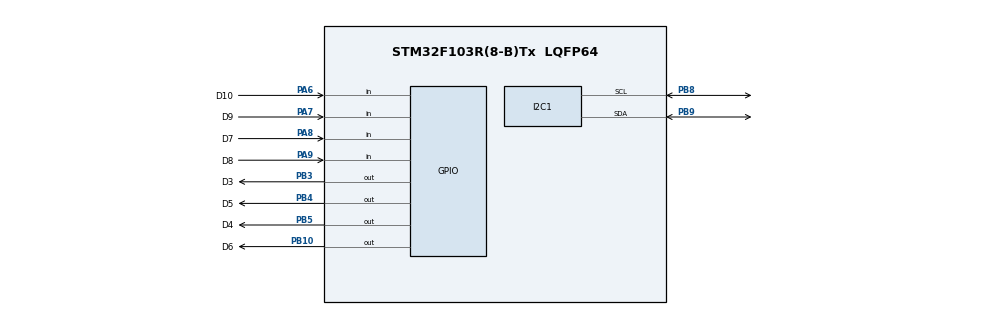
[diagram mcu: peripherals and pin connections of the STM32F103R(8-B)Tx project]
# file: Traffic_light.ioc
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Mcu.Family=STM32F1
Mcu.Name=STM32F103R(8-B)Tx
Mcu.Package=LQFP64
NVIC.PriorityGroup=NVIC_PRIORITYGROUP_4
NVIC.TIM2_IRQn=true\:0\:0\:false\:false\:true\:true\:true
PA13.Mode=Serial_Wire
PA13.Signal=SYS_JTMS-SWDIO
PA14.Mode=Serial_Wire
PA14.Signal=SYS_JTCK-SWCLK
PA6.GPIO_Label=D10
PA6.Signal=GPIO_Input
PA7.GPIO_Label=D9
PA7.Signal=GPIO_Input
PA8.GPIO_Label=D7
PA8.Signal=GPIO_Input
PA9.GPIO_Label=D8
PA9.Signal=GPIO_Input
PB10.GPIO_Label=D6
PB10.Signal=GPIO_Output
PB3.GPIO_Label=D3
PB3.GPIO_ModeDefaultOutputPP=GPIO_MODE_OUTPUT_PP
PB3.Signal=GPIO_Output
PB4.GPIO_Label=D5
PB4.Signal=GPIO_Output
PB5.GPIO_Label=D4
PB5.Signal=GPIO_Output
PB8.Mode=I2C
PB8.Signal=I2C1_SCL
PB9.Mode=I2C
PB9.Signal=I2C1_SDA
ProjectManager.HeapSize=0x200
ProjectManager.StackSize=0x400
ProjectManager.TargetToolchain=STM32CubeIDE
RCC.APB1Freq_Value=8000000
RCC.APB2Freq_Value=8000000
TIM2.Period=9
TIM2.Prescaler=7999
VP_TIM2_VS_ClockSourceINT.Mode=Internal
board=custom

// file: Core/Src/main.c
/* USER CODE BEGIN Header */
/**
  ******************************************************************************
  * @file           : main.c
  * @brief          : Main program body
  ******************************************************************************
  * @attention
  *
  * <h2><center>&copy; Copyright (c) 2026 STMicroelectronics.
  * All rights reserved.</center></h2>
  *
  * This software component is licensed by ST under BSD 3-Clause license,
  * the "License"; You may not use this file except in compliance with the
  * License. You may obtain a copy of the License at:
  *                        opensource.org/licenses/BSD-3-Clause
  *
  ******************************************************************************
  */
/* USER CODE END Header */
#include "main.h"

I2C_HandleTypeDef hi2c1;

TIM_HandleTypeDef htim2;

void SystemClock_Config(void);
static void MX_GPIO_Init(void);
static void MX_I2C1_Init(void);
static void MX_TIM2_Init(void);

int main(void)
{
  /* USER CODE BEGIN 1 */
	/* 1. Hàm test cho Cụm đèn 1 (Chân D3, D4) */
	void traffic_light_1_test(void) {
	    static uint8_t state1 = 0;
	    state1 = (state1 + 1) % 3; // Luân chuyển 0 -> 1 -> 2 -> 0

	    if (state1 == 0) {
	        // Bật Đỏ (Giả sử D3=0, D4=1)
	        HAL_GPIO_WritePin(GPIOB, GPIO_PIN_3, GPIO_PIN_RESET);
	        HAL_GPIO_WritePin(GPIOB, GPIO_PIN_4, GPIO_PIN_SET);
	    } else if (state1 == 1) {
	        // Bật Vàng (Giả sử D3=1, D4=0)
	        HAL_GPIO_WritePin(GPIOB, GPIO_PIN_3, GPIO_PIN_SET);
	        HAL_GPIO_WritePin(GPIOB, GPIO_PIN_4, GPIO_PIN_RESET);
	    } else {
	        // Bật Xanh (Giả sử D3=1, D4=1)
	        HAL_GPIO_WritePin(GPIOB, GPIO_PIN_3, GPIO_PIN_SET);
	        HAL_GPIO_WritePin(GPIOB, GPIO_PIN_4, GPIO_PIN_SET);
	    }
	}

	/* 2. Hàm test cho Cụm đèn 2 (Chân D5, D6) */
	void traffic_light_2_test(void) {
	    static uint8_t state2 = 0;
	    state2 = (state2 + 1) % 3;

	    if (state2 == 0) {
	        HAL_GPIO_WritePin(GPIOB, GPIO_PIN_5, GPIO_PIN_RESET);
	        HAL_GPIO_WritePin(GPIOB, GPIO_PIN_6, GPIO_PIN_SET);
	    } else if (state2 == 1) {
	        HAL_GPIO_WritePin(GPIOB, GPIO_PIN_5, GPIO_PIN_SET);
	        HAL_GPIO_WritePin(GPIOB, GPIO_PIN_6, GPIO_PIN_RESET);
	    } else {
	        HAL_GPIO_WritePin(GPIOB, GPIO_PIN_5, GPIO_PIN_SET);
	        HAL_GPIO_WritePin(GPIOB, GPIO_PIN_6, GPIO_PIN_SET);
	    }
	}
  /* USER CODE END 1 */

  /* MCU Configuration--------------------------------------------------------*/

  /* Reset of all peripherals, Initializes the Flash interface and the Systick. */
  HAL_Init();

  /* Configure the system clock */
  SystemClock_Config();

  /* Initialize all configured peripherals */
  MX_GPIO_Init();
  MX_I2C1_Init();
  MX_TIM2_Init();
  /* USER CODE BEGIN 2 */
  HAL_TIM_Base_Start_IT(&htim2);
  SCH_Init();

  // Thêm task chớp LED 1 chu kỳ 0.5s (50 tick) và LED 2 chu kỳ 1s (100 tick)
  SCH_Add_Task(traffic_light_1_test, 0, 50);
  SCH_Add_Task(traffic_light_2_test, 0, 100);
  /* USER CODE END 2 */

  /* Infinite loop */
  while (1)
  {
	  SCH_Dispatch_Tasks();
  }
}

void SystemClock_Config(void)
{
  RCC_OscInitTypeDef RCC_OscInitStruct = {0};
  RCC_ClkInitTypeDef RCC_ClkInitStruct = {0};

  /** Initializes the RCC Oscillators according to the specified parameters
  * in the RCC_OscInitTypeDef structure.
  */
  RCC_OscInitStruct.OscillatorType = RCC_OSCILLATORTYPE_HSI;
  RCC_OscInitStruct.HSIState = RCC_HSI_ON;
  RCC_OscInitStruct.HSICalibrationValue = RCC_HSICALIBRATION_DEFAULT;
  RCC_OscInitStruct.PLL.PLLState = RCC_PLL_NONE;
  if (HAL_RCC_OscConfig(&RCC_OscInitStruct) != HAL_OK)
  {
    Error_Handler();
  }
  /** Initializes the CPU, AHB and APB buses clocks
  */
  RCC_ClkInitStruct.ClockType = RCC_CLOCKTYPE_HCLK|RCC_CLOCKTYPE_SYSCLK
                              |RCC_CLOCKTYPE_PCLK1|RCC_CLOCKTYPE_PCLK2;
  RCC_ClkInitStruct.SYSCLKSource = RCC_SYSCLKSOURCE_HSI;
  RCC_ClkInitStruct.AHBCLKDivider = RCC_SYSCLK_DIV1;
  RCC_ClkInitStruct.APB1CLKDivider = RCC_HCLK_DIV1;
  RCC_ClkInitStruct.APB2CLKDivider = RCC_HCLK_DIV1;

  if (HAL_RCC_ClockConfig(&RCC_ClkInitStruct, FLASH_LATENCY_0) != HAL_OK)
  {
    Error_Handler();
  }
}

static void MX_I2C1_Init(void)
{

  hi2c1.Instance = I2C1;
  hi2c1.Init.ClockSpeed = 100000;
  hi2c1.Init.DutyCycle = I2C_DUTYCYCLE_2;
  hi2c1.Init.OwnAddress1 = 0;
  hi2c1.Init.AddressingMode = I2C_ADDRESSINGMODE_7BIT;
  hi2c1.Init.DualAddressMode = I2C_DUALADDRESS_DISABLE;
  hi2c1.Init.OwnAddress2 = 0;
  hi2c1.Init.GeneralCallMode = I2C_GENERALCALL_DISABLE;
  hi2c1.Init.NoStretchMode = I2C_NOSTRETCH_DISABLE;
  if (HAL_I2C_Init(&hi2c1) != HAL_OK)
  {
    Error_Handler();
  }

}

static void MX_TIM2_Init(void)
{

  TIM_ClockConfigTypeDef sClockSourceConfig = {0};
  TIM_MasterConfigTypeDef sMasterConfig = {0};

  htim2.Instance = TIM2;
  htim2.Init.Prescaler = 7999;
  htim2.Init.CounterMode = TIM_COUNTERMODE_UP;
  htim2.Init.Period = 9;
  htim2.Init.ClockDivision = TIM_CLOCKDIVISION_DIV1;
  htim2.Init.AutoReloadPreload = TIM_AUTORELOAD_PRELOAD_DISABLE;
  if (HAL_TIM_Base_Init(&htim2) != HAL_OK)
  {
    Error_Handler();
  }
  sClockSourceConfig.ClockSource = TIM_CLOCKSOURCE_INTERNAL;
  if (HAL_TIM_ConfigClockSource(&htim2, &sClockSourceConfig) != HAL_OK)
  {
    Error_Handler();
  }
  sMasterConfig.MasterOutputTrigger = TIM_TRGO_RESET;
  sMasterConfig.MasterSlaveMode = TIM_MASTERSLAVEMODE_DISABLE;
  if (HAL_TIMEx_MasterConfigSynchronization(&htim2, &sMasterConfig) != HAL_OK)
  {
    Error_Handler();
  }

}

static void MX_GPIO_Init(void)
{
  GPIO_InitTypeDef GPIO_InitStruct = {0};

  /* GPIO Ports Clock Enable */
  __HAL_RCC_GPIOA_CLK_ENABLE();
  __HAL_RCC_GPIOB_CLK_ENABLE();

  /*Configure GPIO pin Output Level */
  HAL_GPIO_WritePin(GPIOB, D6_Pin|D3_Pin|D5_Pin|D4_Pin, GPIO_PIN_RESET);

  /*Configure GPIO pins : D10_Pin D9_Pin D7_Pin D8_Pin */
  GPIO_InitStruct.Pin = D10_Pin|D9_Pin|D7_Pin|D8_Pin;
  GPIO_InitStruct.Mode = GPIO_MODE_INPUT;
  GPIO_InitStruct.Pull = GPIO_NOPULL;
  HAL_GPIO_Init(GPIOA, &GPIO_InitStruct);

  /*Configure GPIO pins : D6_Pin D3_Pin D5_Pin D4_Pin */
  GPIO_InitStruct.Pin = D6_Pin|D3_Pin|D5_Pin|D4_Pin;
  GPIO_InitStruct.Mode = GPIO_MODE_OUTPUT_PP;
  GPIO_InitStruct.Pull = GPIO_NOPULL;
  GPIO_InitStruct.Speed = GPIO_SPEED_FREQ_LOW;
  HAL_GPIO_Init(GPIOB, &GPIO_InitStruct);

}

/* USER CODE BEGIN 4 */
void HAL_TIM_PeriodElapsedCallback(TIM_HandleTypeDef *htim) {
    // Giả sử bạn cấu hình TIM2 sinh ngắt mỗi 10ms trên CubeIDE
    if (htim->Instance == TIM2) {
        SCH_Update();
    }
}
/* USER CODE END 4 */

void Error_Handler(void)
{
  __disable_irq();
  while (1)
  {
  }
}

/************************ (C) COPYRIGHT STMicroelectronics *****END OF FILE****/
